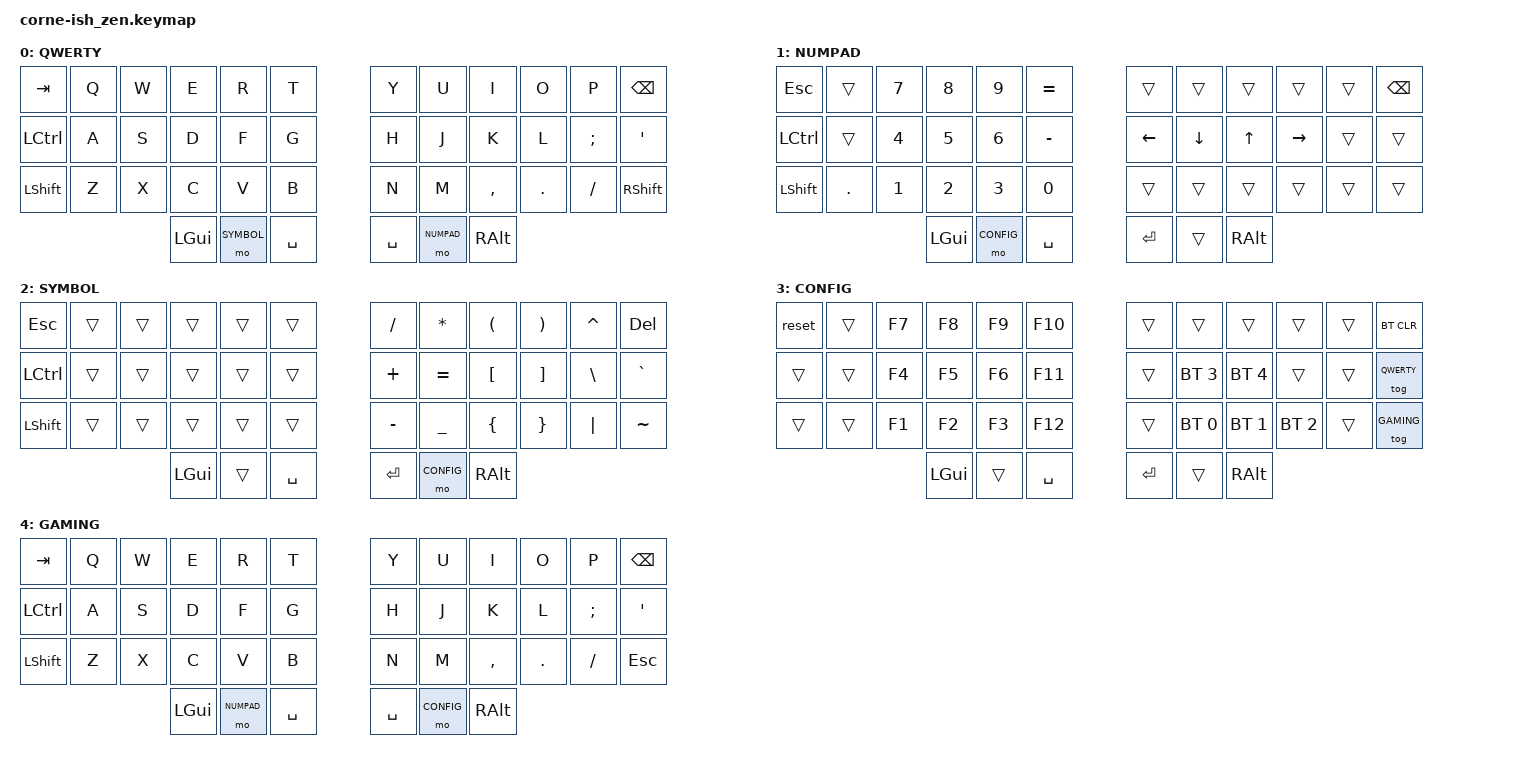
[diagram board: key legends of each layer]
/*
*
* Layout by Brandon Baker
* SPDX-License-Identifier: MIT
*
*/

#include <behaviors.dtsi>
#include <dt-bindings/zmk/keys.h>
#include <dt-bindings/zmk/bt.h>

#define QWERTY 0
#define NUMPAD 1
#define SYMBOL 2
#define CONFIG 3
#define GAMING 4

/ {
        keymap {
                compatible = "zmk,keymap";

                default_layer {
                        label = "QWERTY";
// -----------------------------------------------------------------------------------------
// |  TAB |  Q  |  W  |  E  |  R  |  T  |   |  Y  |  U   |  I  |  O  |  P  | BKSP |
// | SHFT |  A  |  S  |  D  |  F  |  G  |   |  H  |  J   |  K  |  L  |  ;  |  '   |
// | CTRL |  Z  |  X  |  C  |  V  |  B  |   |  N  |  M   |  ,  |  .  |  /  | SHFT |
//                    | GUI | SYM | SPC |   | SPC | NUM  | ALT |
                        bindings = < 
   &kp TAB   &kp Q &kp W &kp E    &kp R      &kp T         &kp Y     &kp U      &kp I     &kp O   &kp P    &kp BSPC
   &kp LCTRL &kp A &kp S &kp D    &kp F      &kp G         &kp H     &kp J      &kp K     &kp L   &kp SEMI &kp SQT
   &kp LSHFT &kp Z &kp X &kp C    &kp V      &kp B         &kp N     &kp M      &kp COMMA &kp DOT &kp FSLH &kp RSHFT
                         &kp LGUI &mo SYMBOL &kp SPACE     &kp SPACE &mo NUMPAD &kp RALT
                        >;
                };
                number_layer {
                        label = "NUMPAD";
// -----------------------------------------------------------------------------------------
// | ESC  |  `  |  7  |  8  |  9  |  =  |   |     |     |     |     |     | BKSP |
// | CTRL |     |  4  |  5  |  6  |  -  |   | LFT | DWN | UP  | RGHT|     |      |
// | SHFT | dot |  1  |  2  |  3  |  0  |   |     |     |     |     |     |      |
//                    | GUI | FN  | SPC |   | ENT | FN  | ALT |
                        bindings = <
   &kp ESC   &trans    &kp N7 &kp N8   &kp N9     &kp EQUAL     &trans    &trans   &trans &trans    &trans   &kp BSPC
   &kp LCTRL &trans    &kp N4 &kp N5   &kp N6     &kp MINUS     &kp LEFT  &kp DOWN &kp UP &kp RIGHT &trans   &trans
   &kp LSHFT &kp DOT   &kp N1 &kp N2   &kp N3     &kp N0        &trans    &trans   &trans &trans    &trans   &trans
                    	      &kp LGUI &mo CONFIG &kp SPACE     &kp ENTER &trans   &kp RALT
                        >;
                };
                symbol_layer {
                        label = "SYMBOL";
// -----------------------------------------------------------------------------------------
// | ESC  |     |     |     |     |     |   |  /  |  *  |  (  |  )  |  ^  | DEL  |
// | CTRL |     |     |     |     |     |   |  =  |  +  |  [  |  ]  |  \  |  `   |
// | SHFT |     |     |     |     |     |   |  -  |  _  |  {  |  }  | "|" |  ~   |
//                    | GUI |  FN | SPC |   | ENT |  FN | ALT |
                        bindings = <
   &kp ESC   &trans   &trans &trans   &trans    &trans        &kp FSLH  &kp STAR   &kp LPAR  &kp RPAR &kp CARET &kp DEL
   &kp LCTRL &trans   &trans &trans   &trans    &trans        &kp PLUS  &kp EQUAL  &kp LBKT  &kp RBKT &kp BSLH &kp GRAVE
   &kp LSHFT &trans   &trans &trans   &trans    &trans        &kp MINUS &kp UNDER  &kp LBRC  &kp RBRC &kp PIPE &kp TILDE
                             &kp LGUI &trans    &kp SPACE     &kp ENTER &mo CONFIG &kp RALT                        
                        >;
                };
                 config_layer {
                        label = "CONFIG";
                // -----------------------------------------------------------------------------------------
// | RST  |     | F7  | F8  | F9  | F10 |   |     |     |     |     |     |BT-CLR|
// |      |     | F4  | F5  | F6  | F11 |   |     | BT4 | BT5 |     |     |QWERTY|
// |      |     | F1  | F2  | F3  | F12 |   |     | BT1 | BT2 | BT3 |     | GMG  |
//                    | GUI |     | SPC |   | ENT |     | ALT |
                        bindings = <
   &reset &trans &kp F7 &kp F8   &kp F9    &kp F10       &trans    &trans       &trans       &trans       &trans &bt BT_CLR
   &trans &trans &kp F4 &kp F5   &kp F6    &kp F11       &trans    &bt BT_SEL 3 &bt BT_SEL 4 &trans       &trans &tog QWERTY 
   &trans &trans &kp F1 &kp F2   &kp F3    &kp F12       &trans    &bt BT_SEL 0 &bt BT_SEL 1 &bt BT_SEL 2 &trans &tog GAMING
                        &kp LGUI &trans    &kp SPACE     &kp ENTER &trans       &kp RALT
                        >;
                };
                gaming_layer {
                        label = "GAMING";
// -----------------------------------------------------------------------------------------
// |  TAB |  Q  |  W  |  E  |  R  |  T  |   |  Y  |  U   |  I  |  O  |  P  | BKSP |
// | SHFT |  A  |  S  |  D  |  F  |  G  |   |  H  |  J   |  K  |  L  |  ;  |  '   |
// | CTRL |  Z  |  X  |  C  |  V  |  B  |   |  N  |  M   |  ,  |  .  |  /  | SHFT  |
//                    | GUI | NUM | SPC |   | SPC | SYM  | ALT |
                        bindings = <
   &kp TAB   &kp Q &kp W &kp E    &kp R      &kp T       &kp Y     &kp U      &kp I     &kp O   &kp P    &kp BSPC
   &kp LCTRL &kp A &kp S &kp D    &kp F      &kp G       &kp H     &kp J      &kp K     &kp L   &kp SEMI &kp SQT
   &kp LSHFT &kp Z &kp X &kp C    &kp V      &kp B       &kp N     &kp M      &kp COMMA &kp DOT &kp FSLH &kp ESC
                         &kp LGUI &mo NUMPAD &kp SPACE   &kp SPACE &mo CONFIG &kp RALT
                        >;
                };
        };
};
